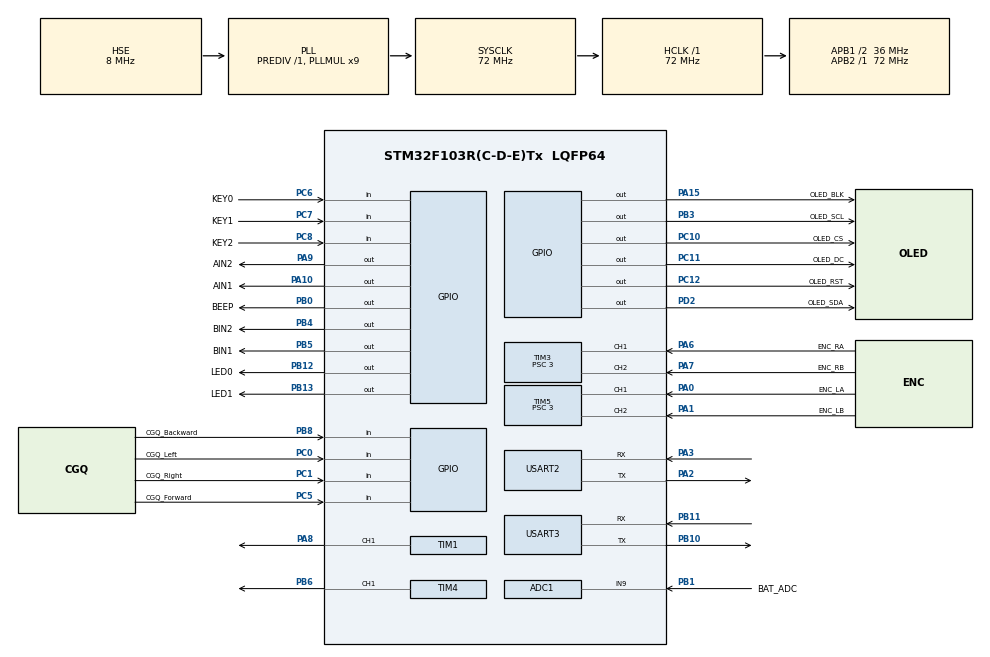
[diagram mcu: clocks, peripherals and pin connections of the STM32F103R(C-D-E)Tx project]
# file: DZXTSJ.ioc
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ADC1.Channel-0\#ChannelRegularConversion=ADC_CHANNEL_9
ADC1.NbrOfConversionFlag=1
ADC1.Rank-0\#ChannelRegularConversion=1
ADC1.SamplingTime-0\#ChannelRegularConversion=ADC_SAMPLETIME_1CYCLE_5
ADC1.master=1
Mcu.Family=STM32F1
Mcu.Name=STM32F103R(C-D-E)Tx
Mcu.Package=LQFP64
NVIC.PriorityGroup=NVIC_PRIORITYGROUP_4
NVIC.TIM2_IRQn=true\:0\:0\:false\:false\:true\:true\:true\:true
NVIC.USART2_IRQn=true\:2\:0\:true\:false\:true\:true\:true\:true
PA0-WKUP.GPIO_Label=ENC_LA
PA0-WKUP.Signal=S_TIM5_CH1
PA1.GPIO_Label=ENC_LB
PA1.Signal=S_TIM5_CH2
PA10.GPIO_Label=AIN1
PA10.Signal=GPIO_Output
PA13.Mode=Serial_Wire
PA13.Signal=SYS_JTMS-SWDIO
PA14.Mode=Serial_Wire
PA14.Signal=SYS_JTCK-SWCLK
PA15.GPIO_Label=OLED_BLK
PA15.GPIO_PuPd=GPIO_PULLUP
PA15.Signal=GPIO_Output
PA2.Mode=Asynchronous
PA2.Signal=USART2_TX
PA3.Mode=Asynchronous
PA3.Signal=USART2_RX
PA6.GPIO_Label=ENC_RA
PA6.Signal=S_TIM3_CH1
PA7.GPIO_Label=ENC_RB
PA7.Signal=S_TIM3_CH2
PA8.Signal=S_TIM1_CH1
PA9.GPIO_Label=AIN2
PA9.Signal=GPIO_Output
PB0.GPIO_Label=BEEP
PB0.GPIO_PuPd=GPIO_PULLUP
PB0.Signal=GPIO_Output
PB1.GPIO_Label=BAT_ADC
PB1.Signal=ADCx_IN9
PB10.Mode=Asynchronous
PB10.Signal=USART3_TX
PB11.Mode=Asynchronous
PB11.Signal=USART3_RX
PB12.GPIO_Label=LED0
PB12.GPIO_PuPd=GPIO_PULLUP
PB12.PinState=GPIO_PIN_SET
PB12.Signal=GPIO_Output
PB13.GPIO_Label=LED1
PB13.GPIO_PuPd=GPIO_PULLUP
PB13.PinState=GPIO_PIN_SET
PB13.Signal=GPIO_Output
PB3.GPIO_Label=OLED_SCL
PB3.GPIO_PuPd=GPIO_PULLUP
PB3.Signal=GPIO_Output
PB4.GPIO_Label=BIN2
PB4.GPIO_PuPd=GPIO_NOPULL
PB4.Signal=GPIO_Output
PB5.GPIO_Label=BIN1
PB5.Signal=GPIO_Output
PB6.Signal=S_TIM4_CH1
PB8.GPIO_Label=CGQ_Backward
PB8.Signal=GPIO_Input
PC0.GPIO_Label=CGQ_Left
PC0.Signal=GPIO_Input
PC1.GPIO_Label=CGQ_Right
PC1.Signal=GPIO_Input
PC10.GPIO_Label=OLED_CS
PC10.GPIO_PuPd=GPIO_PULLUP
PC10.Signal=GPIO_Output
PC11.GPIO_Label=OLED_DC
PC11.GPIO_PuPd=GPIO_PULLUP
PC11.Signal=GPIO_Output
PC12.GPIO_Label=OLED_RST
PC12.GPIO_PuPd=GPIO_PULLUP
PC12.Signal=GPIO_Output
PC5.GPIO_Label=CGQ_Forward
PC5.Signal=GPIO_Input
PC6.GPIO_Label=KEY0
PC6.GPIO_PuPd=GPIO_PULLUP
PC6.Signal=GPIO_Input
PC7.GPIO_Label=KEY1
PC7.GPIO_PuPd=GPIO_PULLUP
PC7.Signal=GPIO_Input
PC8.GPIO_Label=KEY2
PC8.GPIO_PuPd=GPIO_PULLUP
PC8.Signal=GPIO_Input
PD0-OSC_IN.Mode=HSE-External-Oscillator
PD0-OSC_IN.Signal=RCC_OSC_IN
PD1-OSC_OUT.Mode=HSE-External-Oscillator
PD1-OSC_OUT.Signal=RCC_OSC_OUT
PD2.GPIO_Label=OLED_SDA
PD2.GPIO_PuPd=GPIO_PULLUP
PD2.Signal=GPIO_Output
ProjectManager.HeapSize=0x200
ProjectManager.StackSize=0x400
ProjectManager.TargetToolchain=MDK-ARM V5
RCC.AHBFreq_Value=72000000
RCC.APB1CLKDivider=RCC_HCLK_DIV2
RCC.APB1Freq_Value=36000000
RCC.APB1TimFreq_Value=72000000
RCC.APB2Freq_Value=72000000
RCC.APB2TimFreq_Value=72000000
RCC.HCLKFreq_Value=72000000
RCC.PLLMUL=RCC_PLL_MUL9
RCC.PLLSourceVirtual=RCC_PLLSOURCE_HSE
RCC.SYSCLKFreq_VALUE=72000000
RCC.SYSCLKSource=RCC_SYSCLKSOURCE_PLLCLK
RCC.USBFreq_Value=72000000
SH.ADCx_IN9.0=ADC1_IN9,IN9
SH.S_TIM1_CH1.0=TIM1_CH1,PWM Generation1 CH1
SH.S_TIM3_CH1.0=TIM3_CH1,Encoder_Interface
SH.S_TIM3_CH2.0=TIM3_CH2,Encoder_Interface
SH.S_TIM4_CH1.0=TIM4_CH1,PWM Generation1 CH1
SH.S_TIM5_CH1.0=TIM5_CH1,Encoder_Interface
SH.S_TIM5_CH2.0=TIM5_CH2,Encoder_Interface
TIM1.Channel-PWM\ Generation1\ CH1=TIM_CHANNEL_1
TIM1.Period=1000
TIM1.Prescaler=72-1
TIM2.AutoReloadPreload=TIM_AUTORELOAD_PRELOAD_ENABLE
TIM2.Period=1000
TIM2.Prescaler=72-1
TIM3.EncoderMode=TIM_ENCODERMODE_TI12
TIM3.IC1Filter=15
TIM3.IC2Filter=15
TIM3.Prescaler=3
TIM4.Channel-PWM\ Generation1\ CH1=TIM_CHANNEL_1
TIM4.Period=1000
TIM4.Prescaler=72-1
TIM5.EncoderMode=TIM_ENCODERMODE_TI12
TIM5.IC1Filter=15
TIM5.IC2Filter=15
TIM5.Prescaler=3
USART2.VirtualMode=VM_ASYNC
USART3.VirtualMode=VM_ASYNC
VP_TIM1_VS_ClockSourceINT.Mode=Internal
VP_TIM2_VS_ClockSourceINT.Mode=Internal
VP_TIM4_VS_ClockSourceINT.Mode=Internal
board=custom

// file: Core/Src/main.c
/* USER CODE BEGIN Header */
/**
  ******************************************************************************
  * @file           : main.c
  * @brief          : Main program body
  ******************************************************************************
  * @attention
  *
  * Copyright (c) 2025 STMicroelectronics.
  * All rights reserved.
  *
  * This software is licensed under terms that can be found in the LICENSE file
  * in the root directory of this software component.
  * If no LICENSE file comes with this software, it is provided AS-IS.
  *
  ******************************************************************************
  */
/* USER CODE END Header */
#include "main.h"
#include <stdio.h>
#include <string.h>
#include "adc.h"
#include "tim.h"
#include "usart.h"
#include "gpio.h"

/* USER CODE BEGIN PTD */
typedef struct
{
   	float kp, ki, kd; // 比例、积分、微分系数
    float error, lastError; // 当前误差、上一次误差
    float integral, maxIntegral; // 积分累计值、积分限幅
    float output, maxOutput; // 控制输出、输出限幅
    float deadzone; // 死区
}PID;
/* USER CODE END PTD */

/* USER CODE BEGIN PD */
#define ENCODER_DEADZONE 2  // 编码器增量绝对值小于此值时视为静止
#define PID_OUTPUT_DEADZONE 5  // PID输出绝对值小于此值时置零
// 走迷宫时用于计算前进距离的绝对值宏
#define ABS_INT(x) (( (x) >= 0 ) ? (x) : -(x))
// 手动模式下直行速度调节范围与步长
#define SPEED_MIN      20
#define SPEED_MAX      120
#define SPEED_STEP     10
#define STRAIGHT_SLEW_STEP 4   // 直行角度环输出变化限幅，抑制左右摆动
#define TURN_SLEW_STEP     6   // 转弯PID输出变化限幅，降低振荡
#define MOTOR_FILTER_ALPHA 0.45f // 编码器速度一阶低通滤波系数
#define STRAIGHT_BALANCE_KP 0.35f   // 直行速度环左右平衡系数
#define STRAIGHT_BALANCE_MAX 8      // 直行速度环最大修正量
/* USER CODE END PD */

/* USER CODE BEGIN PV */
uint32_t ms_Tick;
uint32_t last_send_time = 0;  // 上一次发送状态的时间
uint8_t uart3_send_buffer[150];  // USART3发送缓冲区

// 定时与按键扫描变量
unsigned char Key_Slow_Down;
//key
unsigned char Key_Value;
unsigned char Key_Old,Key_Down,Key_Up;
uint8_t Key_Test0,Key_Test1,Key_Test2;
// 红外传感器数据
uint8_t CGQ_Data1,CGQ_Data2,CGQ_Data3,CGQ_Data4;// 1、2、3、4分别对应前、后、左、右红外
// USART2接收JY61P姿态数据
uint8_t uartdata2;// 串口当前接收到的字节
uint8_t Uart_Receive_String2[20];
uint8_t Uart_Receive_Flag2=0,Uart_Index2=0,Uart_State2=0;
int16_t jy61p_Roll,jy61p_Pitch,jy61p_Yaw;
float Roll,Pitch,Yaw;
uint8_t jy61p_Sum;
// 编码器变量
int EncoderRight,enc1_last,enc1_now;// 右轮采样周期内的编码器增量及计数值
char DirectionRight;// 右轮方向标志，由编码器计数方向确定
int EncoderLeft,enc2_last,enc2_now;// 左轮采样周期内的编码器增量及计数值
char DirectionLeft;// 左轮方向标志，由编码器计数方向确定
//PID - 修改速度环PID参数，降低比例增益、适当提高微分，抑制左右摆动
float Motor_kp=1.7f,Motor_ki=0.25f,Motor_kd=1.8f;//电机速度环默认参数，可按现场情况微调,2.0 0.25 1.8
uint16_t MotorRight_Target=20;// 右轮基础速度目标
PID MotorRight_PID={0};
uint16_t MotorLeft_Target=20;// 左轮基础速度目标
PID MotorLeft_PID={0};
float EncoderRight_filt = 0.0f;  // 过滤后的右轮速度
float EncoderLeft_filt  = 0.0f;  // 过滤后的左轮速度
//偏航角度环PID - 调低比例，略升微分，减少直行摆动
float Angle_kp=1.5f,Angle_ki=0.004f,Angle_kd=1.8f;//1.3
PID Angle_PID={0};
// 转弯独立PID，转向时采用更柔和且低幅度的参数
float Turn_kp=1.0f,Turn_ki=0.0050f,Turn_kd=1.2f;//0.8 0.0050 0.9
PID Turn_PID={0};
float turn_output_filtered = 0.0f;   // 转弯PID输出平滑值
float Yaw_PID_Error = 0.0f;          // 记录当前使用的偏航PID误差
float Yaw_PID_Output = 0.0f;         // 记录当前使用的偏航PID输出
float Yaw_Target=0.0f;
uint8_t Angle_Target_Valid=0;
int32_t MotorRight_Target_Adjusted=0;
int32_t MotorLeft_Target_Adjusted=0;
uint16_t Straight_Speed = SPEED_MIN;       // 直行动作的默认目标速度，可通过按键调节
int16_t Straight_Trim = 6;                 // 直行左右轮平衡微调：>0 提升左轮/降低右轮，矫正左偏
uint8_t Current_Action = 4;         // 当前动作编号：0直行 1左转 2右转 3调头 4停止
// USART3状态发送

//==================== 迷宫与智能鼠走迷宫相关变量 ====================//
#define MAZE_SIZE          8	// 迷宫的大小
#define MAZE_CENTER_MIN    3   	// 中心区域 [3,3]~[4,4]
#define MAZE_CENTER_MAX    4

// 地图不是一张图像，而是一个8×8的结构体数组,每个结构体描述一个格子，64个结构体就能表达整个迷宫。
typedef struct
{
	uint8_t walls;     // 当前格子四周哪些方向有墙,使用 walls 的低4个二进制位，每一位对应一个方向。
	uint8_t distance;  // 当前格子到终点的洪泛距离
	uint8_t visited;   // 是否走到过该格 0未访问，1已访问
} MazeCell;

// 方向定义：0北 1东 2南 3西
typedef enum
{
	DIR_NORTH = 0,
	DIR_EAST  = 1,
	DIR_SOUTH = 2,
	DIR_WEST  = 3
} Direction;

// 迷宫地图 & 机器人位姿
MazeCell maze[MAZE_SIZE][MAZE_SIZE];
int8_t robot_x = 7;            // 当前所在格子 X (0~7)，起点为右下角(7,0)
int8_t robot_y = 0;            // 当前所在格子 Y (0~7)，起点为右下角(7,0)
Direction robot_dir = DIR_NORTH; // 当前朝向，起始朝向为北（向上）

// 方向增量：0北 1东 2南 3西
const int8_t dir_dx[4] = {0, 1, 0, -1};		// 和Direction配合使用，往某个方向，就是针对着增减
const int8_t dir_dy[4] = {1, 0, -1, 0};

// 运动状态机
typedef enum
{
	MOTION_IDLE = 0,
	MOTION_MOVE_ONE_CELL,   // 正在前进一个单元格
	MOTION_TURNING          // 正在转向
} MotionState;

MotionState motion_state = MOTION_IDLE;
int32_t move_encoder_acc = 0;      // 用于统计前进距离的编码器累积值
uint32_t motion_start_tick = 0;    // 启动当前动作时的时间戳，用于超时检测
// 每个单元格对应的平均编码器增量（左右轮平均），需要根据实际底盘调试
#define COUNTS_PER_CELL     256

// 转弯完成判断阈值（角度误差小于该值判定转向结束）
#define TURN_ANGLE_EPS      2.0f

// 启动自动迷宫模式的标志（可通过按键控制）
uint8_t maze_auto_mode = 0;
uint8_t maze_finished   = 0;

// 迷宫控制函数前置声明
void Maze_Init(void);
void Maze_UpdateWalls(void);
void Maze_ComputeDistances(void);
uint8_t Maze_IsInCenter(uint8_t x, uint8_t y);
uint8_t Maze_ChooseNextMove(void);
void Maze_Controller(void);
void Motion_StartForwardOneCell(void);
void Motion_StartTurnLeft(void);
void Motion_StartTurnRight(void);
void Motion_StartTurnBack(void);
void Motion_UpdateByEncoders(void);
void Motion_Stop(void);

/* USER CODE END PV */

void SystemClock_Config(void);
/* USER CODE BEGIN PFP */
void Key_Proc(void);
void JY61P_Proc(void);
void Set_RightLun_Duty(int Duty);
void Set_LeftLun_Duty(int Duty);
uint8_t CGQ_Read(uint8_t Num);
void SendString3(uint8_t* UartString);
void Send_Debug_Data(void);
void Reset_PID(void);
void PID_Init(PID *pid, float p, float i, float d, float maxI, float maxOut);
void Motor_Proc(void);
void Angle_Control_Update(void);
void Reset_Angle_PID(void);
float NormalizeAngle(float angle);
void Action(uint8_t num);
// 走迷宫相关函数声明
void Maze_Init(void);
void Maze_Controller(void);
void Maze_UpdateWalls(void);
void Maze_ComputeDistances(void);
uint8_t Maze_IsInCenter(uint8_t x, uint8_t y);
uint8_t Maze_ChooseNextMove(void);
void Motion_StartForwardOneCell(void);
void Motion_StartTurnLeft(void);
void Motion_StartTurnRight(void);
void Motion_StartTurnBack(void);
void Motion_Stop(void);

/* USER CODE END PFP */

// 这套电脑鼠真正实现了两种运行模式——手动测试模式和自动迷宫模式
// 手动测试模式:电后默认处于这个模式，而且初始是停止状态。
// 可以通过按键依次让电脑鼠直行、左转、右转、掉头和停止，也可以调整直行速度。调试底盘运动能力
// 自动迷宫模式:按下KEY0后，电脑鼠会重新初始化地图，开始执行
// 边探索、边规划，不是先把整个迷宫走完，再计算最优路径。

int main(void)
{

  /* MCU Configuration--------------------------------------------------------*/

  /* Reset of all peripherals, Initializes the Flash interface and the Systick. */
  HAL_Init();

  /* Configure the system clock */
  SystemClock_Config();

  /* Initialize all configured peripherals */
  MX_GPIO_Init();
  MX_TIM1_Init();
  MX_TIM4_Init();
  MX_TIM2_Init();
  MX_USART2_UART_Init();
  MX_USART3_UART_Init();
  MX_TIM3_Init();
  MX_TIM5_Init();
  MX_ADC1_Init();
  /* USER CODE BEGIN 2 */
	HAL_TIM_Base_Start_IT(&htim2);// 启动TIM2周期中断
	HAL_TIM_PWM_Start(&htim1,TIM_CHANNEL_1);// 启动TIM1通道1的PWM输出
	HAL_TIM_PWM_Start(&htim4,TIM_CHANNEL_1);// 启动TIM4通道1的PWM输出
	HAL_TIM_Encoder_Start(&htim3, TIM_CHANNEL_ALL);// 启动TIM3编码器接口
	HAL_TIM_Encoder_Start(&htim5, TIM_CHANNEL_ALL);// 启动TIM5编码器接口

	// 初始化时先停止电机
	Set_RightLun_Duty(0);
	Set_LeftLun_Duty(0);

	HAL_UART_Receive_IT(&huart2, (uint8_t *)&uartdata2,1); // 启动USART2单字节中断接收，接收到uartdata2

	// 初始化速度环和角度环PID参数
	PID_Init(&MotorRight_PID, Motor_kp, Motor_ki, Motor_kd, 300.0f, 800.0f); // 初始化右轮速度环PID及积分、输出限幅
	PID_Init(&MotorLeft_PID, Motor_kp, Motor_ki, Motor_kd, 300.0f, 800.0f); // 初始化左轮速度环PID及积分、输出限幅
	PID_Init(&Angle_PID, Angle_kp, Angle_ki, Angle_kd, 150.0f, 150.0f); // 初始化直行角度环PID及积分、输出限幅
	PID_Init(&Turn_PID,  Turn_kp,  Turn_ki,  Turn_kd, 100.0f, 100.0f); // 转弯专用PID，限制输出幅度
	MotorRight_Target_Adjusted = MotorRight_Target;
	MotorLeft_Target_Adjusted = MotorLeft_Target;

 	// 开始时将编码器计数置为中值,防止跳变
 	__HAL_TIM_SET_COUNTER(&htim3, 32768);
	__HAL_TIM_SET_COUNTER(&htim5, 32768);
	enc1_now = 32768;
	enc1_last = 32768;
	enc2_now = 32768;
	enc2_last = 32768;

	// 初始化迷宫数据，但默认不启用迷宫自动模式
	Maze_Init();
	maze_auto_mode = 0;
	maze_finished  = 0;
	Current_Action = 4;   // 默认停止
	Action(4);

  /* USER CODE END 2 */

  /* Infinite loop */
  while (1)
  {

	/* USER CODE BEGIN 3 */
	Key_Proc();  // 代码中按键能够切换自动迷宫模式、切换手动动作和调整直行速度。 按键控制为什么放在while里面？
	JY61P_Proc();//处理JY61P姿态传感器发送的数据，主要获得机器人当前的偏航角 Yaw。
	Motor_Proc();//将左右电机PID控制器当前的输出值，送给电机驱动,并不负责计算PID，只是将已经计算好的控制量转换为PWM和方向信号。
	// 红外传感器读取
	CGQ_Data1=CGQ_Read(1);		// 前
	CGQ_Data2=CGQ_Read(2);		// 后
	CGQ_Data3=CGQ_Read(3);		// 左
	CGQ_Data4=CGQ_Read(4);		// 右
	// 在当前迷宫规划实现中，主要使用前、左、右三个方向的信息，后方传感器没有参与迷宫墙体更新。

	// 只有满足两个条件才执行自动迷宫控制：自动模式已开启 AND 尚未完成迷宫
	if(maze_auto_mode && !maze_finished){
		Maze_Controller();// 负责判断当前运动状态、更新地图、规划下一步，并启动相应的运动动作
		// 它并不直接负责计算左右电机PWM，而是给下层运动控制模块下达指令。
	}

	// 每500ms通过串口发送一次调试数据
	if(ms_Tick - last_send_time >= 500){
		last_send_time = ms_Tick;
		Send_Debug_Data();
	}
  }
  /* USER CODE END 3 */
}

void SystemClock_Config(void)
{
  RCC_OscInitTypeDef RCC_OscInitStruct = {0};
  RCC_ClkInitTypeDef RCC_ClkInitStruct = {0};
  RCC_PeriphCLKInitTypeDef PeriphClkInit = {0};

  /** Initializes the RCC Oscillators according to the specified parameters
  * in the RCC_OscInitTypeDef structure.
  */
  RCC_OscInitStruct.OscillatorType = RCC_OSCILLATORTYPE_HSE;
  RCC_OscInitStruct.HSEState = RCC_HSE_ON;
  RCC_OscInitStruct.HSEPredivValue = RCC_HSE_PREDIV_DIV1;
  RCC_OscInitStruct.HSIState = RCC_HSI_ON;
  RCC_OscInitStruct.PLL.PLLState = RCC_PLL_ON;
  RCC_OscInitStruct.PLL.PLLSource = RCC_PLLSOURCE_HSE;
  RCC_OscInitStruct.PLL.PLLMUL = RCC_PLL_MUL9;
  if (HAL_RCC_OscConfig(&RCC_OscInitStruct) != HAL_OK)
  {
    Error_Handler();
  }

  /** Initializes the CPU, AHB and APB buses clocks
  */
  RCC_ClkInitStruct.ClockType = RCC_CLOCKTYPE_HCLK|RCC_CLOCKTYPE_SYSCLK
                              |RCC_CLOCKTYPE_PCLK1|RCC_CLOCKTYPE_PCLK2;
  RCC_ClkInitStruct.SYSCLKSource = RCC_SYSCLKSOURCE_PLLCLK;
  RCC_ClkInitStruct.AHBCLKDivider = RCC_SYSCLK_DIV1;
  RCC_ClkInitStruct.APB1CLKDivider = RCC_HCLK_DIV2;
  RCC_ClkInitStruct.APB2CLKDivider = RCC_HCLK_DIV1;

  if (HAL_RCC_ClockConfig(&RCC_ClkInitStruct, FLASH_LATENCY_2) != HAL_OK)
  {
    Error_Handler();
  }
  PeriphClkInit.PeriphClockSelection = RCC_PERIPHCLK_ADC;
  PeriphClkInit.AdcClockSelection = RCC_ADCPCLK2_DIV2;
  if (HAL_RCCEx_PeriphCLKConfig(&PeriphClkInit) != HAL_OK)
  {
    Error_Handler();
  }
}

/* USER CODE BEGIN 4 */
void HAL_TIM_PeriodElapsedCallback(TIM_HandleTypeDef *htim){
	if(htim == &htim2){  // 只处理TIM2的周期中断
		ms_Tick++;
		if(++Key_Slow_Down ==10) Key_Slow_Down=0;

		// 每50ms采样一次编码器
		if((ms_Tick%50)==0){
			// 通过TIM3和TIM5读取编码器计数，计算轮速增量
			enc1_last=enc1_now;
			enc1_now = (uint16_t)(__HAL_TIM_GET_COUNTER(&htim3));// 读取TIM3计数值
			DirectionRight= __HAL_TIM_IS_TIM_COUNTING_DOWN(&htim3);// 读取右轮编码器计数方向，实际正反方向需实车标定

			// 根据计数方向计算右轮编码器增量
			if(DirectionRight){
				EncoderRight = enc1_now - enc1_last;
			}
			else{
				EncoderRight = enc1_last - enc1_now;
			}

			// 编码器死区处理，抑制静止时的小幅抖动
			if(EncoderRight > -ENCODER_DEADZONE && EncoderRight < ENCODER_DEADZONE){
				EncoderRight = 0;
			}

			enc2_last=enc2_now;
			enc2_now = (uint16_t)(__HAL_TIM_GET_COUNTER(&htim5));// 读取TIM5计数值
			if(__HAL_TIM_IS_TIM_COUNTING_DOWN(&htim5)==0){
				DirectionLeft=1;
			}
			else{
				DirectionLeft=0;
			}

			// 根据计数方向计算左轮编码器增量
			if(DirectionLeft){
				EncoderLeft = enc2_now - enc2_last;
			}
			else{
				EncoderLeft = enc2_last - enc2_now;
			}

			// 编码器死区处理，抑制静止时的小幅抖动
			if(EncoderLeft > -ENCODER_DEADZONE && EncoderLeft < ENCODER_DEADZONE){
				EncoderLeft = 0;
			}

			//=== 走迷宫：更新前进一个单元格的编码器累积，并做简单堵转检测 ===//
			if(motion_state == MOTION_MOVE_ONE_CELL){
				// 计算左右轮编码器的平均增量（取绝对值）
				int step_right = ABS_INT(EncoderRight);
				int step_left = ABS_INT(EncoderLeft);
				int step = (step_right + step_left) / 2;
				move_encoder_acc += step;

				// 检查是否达到一个单元格的距离（256个编码器计数）
				if(move_encoder_acc >= COUNTS_PER_CELL){
					move_encoder_acc = 0;
					// 根据当前朝向更新所在格子坐标
					int8_t nx = robot_x + dir_dx[robot_dir];
					int8_t ny = robot_y + dir_dy[robot_dir];
					if(nx >= 0 && nx < MAZE_SIZE && ny >= 0 && ny < MAZE_SIZE){
						robot_x = nx;
						robot_y = ny;
						maze[robot_x][robot_y].visited = 1;
					}
					Motion_Stop();
				}else{
					// 堵转检测：如果超过1.5秒且编码器累积值小于1/8单元格，认为前方被阻挡
					uint32_t elapsed = ms_Tick - motion_start_tick;
					if(elapsed > 1500 && move_encoder_acc < (COUNTS_PER_CELL / 8)){
						// 标记前方为墙
						uint8_t dir_front = robot_dir;
						uint8_t dir_back  = (robot_dir + 2) & 0x03;
						maze[robot_x][robot_y].walls |= (1 << dir_front);
						int8_t nx = robot_x + dir_dx[dir_front];
						int8_t ny = robot_y + dir_dy[dir_front];
						if(nx >= 0 && nx < MAZE_SIZE && ny >= 0 && ny < MAZE_SIZE){
							maze[nx][ny].walls |= (1 << dir_back);
						}
						Motion_Stop();
					}
				}
			}
		}

		// ============ 右轮速度环PID：每10ms更新一次 ============
		if((ms_Tick%10)==0){
			Angle_Control_Update();

			MotorRight_PID.lastError = MotorRight_PID.error;
			// 速度一阶滤波，抑制编码器抖动
			EncoderRight_filt += MOTOR_FILTER_ALPHA * ((float)EncoderRight - EncoderRight_filt);
			EncoderLeft_filt  += MOTOR_FILTER_ALPHA * ((float)EncoderLeft  - EncoderLeft_filt);

			MotorRight_PID.error = (float)MotorRight_Target_Adjusted - EncoderRight_filt;

			// 只有误差较小时才累积积分
			if(MotorRight_PID.error < 15 && MotorRight_PID.error > -15){
				MotorRight_PID.integral += MotorRight_PID.error;
			}
			else{
				// 误差较大时衰减积分，避免积分饱和
				MotorRight_PID.integral *= 0.95;
			}

			// 积分限幅，避免积分饱和
			if(MotorRight_PID.integral > MotorRight_PID.maxIntegral) {
				MotorRight_PID.integral = MotorRight_PID.maxIntegral;
			}
			if(MotorRight_PID.integral < -MotorRight_PID.maxIntegral) {
				MotorRight_PID.integral = -MotorRight_PID.maxIntegral;
			}

			// 计算PID控制输出
			MotorRight_PID.output = MotorRight_PID.kp * MotorRight_PID.error
								  + MotorRight_PID.ki * MotorRight_PID.integral
								  + MotorRight_PID.kd * (MotorRight_PID.error - MotorRight_PID.lastError);

			// 输出限幅，限制电机控制量
			if(MotorRight_PID.output > MotorRight_PID.maxOutput) {
				MotorRight_PID.output = MotorRight_PID.maxOutput;
			}
			if(MotorRight_PID.output < -MotorRight_PID.maxOutput) {
				MotorRight_PID.output = -MotorRight_PID.maxOutput;
			}

			// 输出死区处理，小幅控制输出直接置零
			if(MotorRight_PID.output > -PID_OUTPUT_DEADZONE && MotorRight_PID.output < PID_OUTPUT_DEADZONE){
				MotorRight_PID.output = 0;
			}

			// ============ 左轮速度环PID ============
			MotorLeft_PID.lastError = MotorLeft_PID.error;
			MotorLeft_PID.error = (float)MotorLeft_Target_Adjusted - EncoderLeft_filt;

			// 只有误差较小时才累积积分
			if(MotorLeft_PID.error < 15 && MotorLeft_PID.error > -15){
				MotorLeft_PID.integral += MotorLeft_PID.error;
			}
			else{
				// 误差较大时衰减积分，避免积分饱和
				MotorLeft_PID.integral *= 0.95;
			}

			// 积分限幅，避免积分饱和
			if(MotorLeft_PID.integral > MotorLeft_PID.maxIntegral) {
				MotorLeft_PID.integral = MotorLeft_PID.maxIntegral;
			}
			if(MotorLeft_PID.integral < -MotorLeft_PID.maxIntegral) {
				MotorLeft_PID.integral = -MotorLeft_PID.maxIntegral;
			}

			// 计算PID控制输出
			MotorLeft_PID.output = MotorLeft_PID.kp * MotorLeft_PID.error
								 + MotorLeft_PID.ki * MotorLeft_PID.integral
								 + MotorLeft_PID.kd * (MotorLeft_PID.error - MotorLeft_PID.lastError);

			// 输出限幅，限制电机控制量
			if(MotorLeft_PID.output > MotorLeft_PID.maxOutput) {
				MotorLeft_PID.output = MotorLeft_PID.maxOutput;
			}
			if(MotorLeft_PID.output < -MotorLeft_PID.maxOutput) {
				MotorLeft_PID.output = -MotorLeft_PID.maxOutput;
			}

			// 输出死区处理，小幅控制输出直接置零
			if(MotorLeft_PID.output > -PID_OUTPUT_DEADZONE && MotorLeft_PID.output < PID_OUTPUT_DEADZONE){
				MotorLeft_PID.output = 0;
			}
		}
   }
}

unsigned char Key_Read_BTN(void)
{
	unsigned char Key_Value;

	if(HAL_GPIO_ReadPin(KEY0_GPIO_Port,KEY0_Pin)==0) Key_Value=7;
	else if(HAL_GPIO_ReadPin(KEY1_GPIO_Port,KEY1_Pin)==0) Key_Value=6;
	else if(HAL_GPIO_ReadPin(KEY2_GPIO_Port,KEY2_Pin)==0) Key_Value=5;
	else Key_Value=0;

	return Key_Value;
}

void Key_Proc(void){
	if(Key_Slow_Down) return;
	Key_Slow_Down=1;

	Key_Value=Key_Read_BTN();
	Key_Down=Key_Value&(Key_Old^Key_Value);
	Key_Up=~Key_Value&(Key_Old^Key_Value);
	Key_Old=Key_Value;

	switch(Key_Down)
	{
		case 7:
			Key_Test0++;
			// 按键0：切换迷宫模式（开始/停止）
			if(maze_auto_mode == 0){
				// 进入迷宫自动模式
				Motion_Stop();
				Maze_Init();
				maze_finished = 0;
				maze_auto_mode = 1;
			}else{
				// 退出迷宫模式，停止运动并进入手动停止模式
				maze_auto_mode = 0;
				maze_finished = 0;
				Motion_Stop();
				Current_Action = 4;
				Action(4);
			}
		break;
		case 6:
			Key_Test1++;
			// 按键1：在非迷宫模式下，循环切换 action 的 5 种模式（0直行 1左转 2右转 3调头 4停止）
			if(maze_auto_mode == 0){
				Current_Action = (Current_Action + 1) % 5; // 0~4 轮询
				Action(Current_Action);
			}
		break;
		case 5:
			Key_Test2++;
			// 按键2：在非迷宫模式下调整直行速度，超过上限后回到下限
			if(maze_auto_mode == 0){
				if(Straight_Speed < SPEED_MIN){
					Straight_Speed = SPEED_MIN;
				}
				Straight_Speed += SPEED_STEP;
				if(Straight_Speed > SPEED_MAX){
					Straight_Speed = SPEED_MIN;
				}
				// 当前是直行模式时立即生效
				if(Current_Action == 0){
					Action(0);
				}
			}
		break;
	}
}

// 解析JY61P姿态帧，更新Roll、Pitch、Yaw
void JY61P_Proc(void){
	if(Uart_Receive_Flag2==0){
		return;
	}

	jy61p_Sum=(0x55+Uart_Receive_String2[0]+Uart_Receive_String2[1]+Uart_Receive_String2[2]+Uart_Receive_String2[3]+Uart_Receive_String2[4]+Uart_Receive_String2[5]+Uart_Receive_String2[6]+Uart_Receive_String2[7]+Uart_Receive_String2[8]);
	if(Uart_Receive_String2[9]==jy61p_Sum){
		if(Uart_Receive_String2[0]==0x53){
			jy61p_Roll=(int16_t)((Uart_Receive_String2[2]<<8)|(Uart_Receive_String2[1]));
			jy61p_Pitch=(int16_t)((Uart_Receive_String2[4]<<8)|(Uart_Receive_String2[3]));
			jy61p_Yaw=(int16_t)((Uart_Receive_String2[6]<<8)|(Uart_Receive_String2[5]));
			Roll=jy61p_Roll*180.0f/32768.0f;
			Pitch=jy61p_Pitch*180.0f/32768.0f;
			Yaw=jy61p_Yaw*180.0f/32768.0f;
		}
	}
	Uart_Receive_Flag2=0;
}

// 将速度环PID输出转换为整数电机控制量
void Motor_Proc(void){
	Set_LeftLun_Duty((int)MotorLeft_PID.output);// 将左轮PID输出送入PWM与方向控制函数
	Set_RightLun_Duty((int)MotorRight_PID.output);// 将右轮PID输出送入PWM与方向控制函数
}

// 设置右轮电机的方向和PWM占空比，Duty允许正负值
void Set_RightLun_Duty(int Duty){
	if(Duty>1000){
		Duty=1000;
	}
	else if(Duty<-1000){
		Duty=-1000;
	}
	if(Duty>=0){// 非负控制量对应正向输出
		HAL_GPIO_WritePin(AIN1_GPIO_Port,AIN1_Pin,GPIO_PIN_RESET);
		HAL_GPIO_WritePin(AIN2_GPIO_Port,AIN2_Pin,GPIO_PIN_SET);
		__HAL_TIM_SET_COMPARE(&htim1,TIM_CHANNEL_1,Duty);// 设置PWM比较值
	}
	else{// 负控制量对应反向输出
		HAL_GPIO_WritePin(AIN1_GPIO_Port,AIN1_Pin,GPIO_PIN_SET);
		HAL_GPIO_WritePin(AIN2_GPIO_Port,AIN2_Pin,GPIO_PIN_RESET);
		__HAL_TIM_SET_COMPARE(&htim1,TIM_CHANNEL_1,-Duty);// 反向时使用控制量绝对值设置PWM比较值
	}
}

// 设置左轮电机的方向和PWM占空比，Duty允许正负值
void Set_LeftLun_Duty(int Duty){
	if(Duty>1000){
		Duty=1000;
	}
	else if(Duty<-1000){
		Duty=-1000;
	}
	if(Duty>=0){// 非负控制量对应正向输出
		HAL_GPIO_WritePin(BIN1_GPIO_Port,BIN1_Pin,GPIO_PIN_RESET);
		HAL_GPIO_WritePin(BIN2_GPIO_Port,BIN2_Pin,GPIO_PIN_SET);
		__HAL_TIM_SET_COMPARE(&htim4,TIM_CHANNEL_1,Duty);// 设置PWM比较值
	}
	else{// 负控制量对应反向输出
		HAL_GPIO_WritePin(BIN1_GPIO_Port,BIN1_Pin,GPIO_PIN_SET);
		HAL_GPIO_WritePin(BIN2_GPIO_Port,BIN2_Pin,GPIO_PIN_RESET);
		__HAL_TIM_SET_COMPARE(&htim4,TIM_CHANNEL_1,-Duty);// 反向时使用控制量绝对值设置PWM比较值
	}
}

// 通过USART3发送字符串
void SendString3(uint8_t* UartString){
	HAL_UART_Transmit(&huart3, (uint8_t *)UartString, strlen((const char *)UartString), 1000);
}

// 发送位置、朝向、姿态角、红外状态和运行模式
void Send_Debug_Data(void){
	int len = 0;
	HAL_StatusTypeDef status;

	// 协议：s,X,Y,O,Angle,Front,Left,Right,Mode\r\n
	// X,Y: 坐标(0-7), O:朝向(0北1东2南3西), Angle:Yaw角(度), Front/Left/Right:传感器(0有墙1无墙), Mode:模式(0停止1迷宫)
	// 将Yaw角归一化到0-360度范围（0度=北，顺时针增加）
	float yaw_normalized = Yaw;
	while(yaw_normalized < 0.0f) yaw_normalized += 360.0f;
	while(yaw_normalized >= 360.0f) yaw_normalized -= 360.0f;

	len = snprintf((char*)uart3_send_buffer, sizeof(uart3_send_buffer),
		"s,%d,%d,%d,%.1f,%d,%d,%d,%d\r\n",
		(int)robot_x,           // X坐标
		(int)robot_y,           // Y坐标
		(int)robot_dir,         // O朝向(0北1东2南3西)
		yaw_normalized,        // Angle陀螺仪Yaw角(度)
		(int)CGQ_Data1,         // Front前传感器(0有墙1无墙)
		(int)CGQ_Data3,         // Left左传感器(0有墙1无墙)
		(int)CGQ_Data4,         // Right右传感器(0有墙1无墙)
		(int)maze_auto_mode     // Mode运行模式(0停止1迷宫模式)
	);

	// 确保数据完整发送，增加超时时间并检查发送状态
	if(len > 0 && len < sizeof(uart3_send_buffer)){
		// 等待上一次发送完成，避免数据被分割
		while(HAL_UART_GetState(&huart3) == HAL_UART_STATE_BUSY_TX){
			HAL_Delay(1);
		}
		// 一次性发送完整数据帧，超时时间增加到5000ms
		status = HAL_UART_Transmit(&huart3, uart3_send_buffer, (uint16_t)len, 5000);
		// 如果发送失败，可以在这里添加错误处理
		(void)status; // 避免未使用变量警告
	}
}

//==================== 迷宫与运动控制函数实现 ====================//
// 迷宫初始化：清空所有墙和距离，并设置外边界墙
void Maze_Init(void){
	for(uint8_t x = 0; x < MAZE_SIZE; x++){
		for(uint8_t y = 0; y < MAZE_SIZE; y++){
			maze[x][y].walls = 0;
			maze[x][y].distance = 0xFF;
			maze[x][y].visited = 0;
		}
	}
	// 设置外边界为墙
	for(uint8_t x = 0; x < MAZE_SIZE; x++){
		maze[x][0].walls |= (1 << DIR_SOUTH);                 // 最底行南侧为墙
		maze[x][MAZE_SIZE-1].walls |= (1 << DIR_NORTH);       // 最顶行为墙
	}
	for(uint8_t y = 0; y < MAZE_SIZE; y++){
		maze[0][y].walls |= (1 << DIR_WEST);                  // 最左列西侧为墙
		maze[MAZE_SIZE-1][y].walls |= (1 << DIR_EAST);        // 最右列东侧为墙
	}
	// 初始位置与朝向
	robot_x = 7;
	robot_y = 0;
	robot_dir = DIR_NORTH;
	maze[robot_x][robot_y].visited = 1;

	maze_finished = 0;
	motion_state = MOTION_IDLE;
	move_encoder_acc = 0;
}

// 根据当前朝向与红外传感器更新当前格子的墙信息
// 约定：CGQ_Data1=前，CGQ_Data3=左，CGQ_Data4=右（CGQ_Data2后方传感器不使用）
// 假定 0 = 有墙（检测到障碍），1 = 无墙

// 关键是：区分机器人自身的前后左右，与迷宫地图的东南西北。
void Maze_UpdateWalls(void){
	MazeCell *cell = &maze[robot_x][robot_y];

	// 程序首先根据 robot_dir 把相对方向转换成绝对方向。
	uint8_t dir_front = robot_dir;
	uint8_t dir_back  = (robot_dir + 2) & 0x03;
	uint8_t dir_left  = (robot_dir + 3) & 0x03;
	uint8_t dir_right = (robot_dir + 1) & 0x03;

	// 前方墙（使用CGQ_Data1）
	if(CGQ_Data1 == 0){
		cell->walls |= (1 << dir_front);
		int8_t nx = robot_x + dir_dx[dir_front];
		int8_t ny = robot_y + dir_dy[dir_front];
		if(nx >= 0 && nx < MAZE_SIZE && ny >= 0 && ny < MAZE_SIZE){
			maze[nx][ny].walls |= (1 << dir_back);
		}
	}
	// 左侧墙（使用CGQ_Data3）
	if(CGQ_Data3 == 0){
		cell->walls |= (1 << dir_left);
		int8_t nx = robot_x + dir_dx[dir_left];
		int8_t ny = robot_y + dir_dy[dir_left];
		if(nx >= 0 && nx < MAZE_SIZE && ny >= 0 && ny < MAZE_SIZE){
			maze[nx][ny].walls |= (1 << dir_right);
		}
	}
	// 右侧墙（使用CGQ_Data4）
	if(CGQ_Data4 == 0){
		cell->walls |= (1 << dir_right);
		int8_t nx = robot_x + dir_dx[dir_right];
		int8_t ny = robot_y + dir_dy[dir_right];
		if(nx >= 0 && nx < MAZE_SIZE && ny >= 0 && ny < MAZE_SIZE){
			maze[nx][ny].walls |= (1 << dir_left);
		}
	}
	// 注意：CGQ_Data2（后方传感器）不使用，因为后方信息对走迷宫无帮助
}

// 是否位于迷宫中心 2x2 区域
uint8_t Maze_IsInCenter(uint8_t x, uint8_t y){
	if(x >= MAZE_CENTER_MIN && x <= MAZE_CENTER_MAX &&
	   y >= MAZE_CENTER_MIN && y <= MAZE_CENTER_MAX){
		return 1;
	}
	return 0;
}

// 基于当前墙信息计算从每个格子到中心的距离（洪泛算法）
void Maze_ComputeDistances(void){
	// 初始化
	for(uint8_t x = 0; x < MAZE_SIZE; x++){
		for(uint8_t y = 0; y < MAZE_SIZE; y++){
			maze[x][y].distance = 0xFF;
		}
	}
	// 中心区域距离设为 0
	for(uint8_t x = MAZE_CENTER_MIN; x <= MAZE_CENTER_MAX; x++){
		for(uint8_t y = MAZE_CENTER_MIN; y <= MAZE_CENTER_MAX; y++){
			maze[x][y].distance = 0;
		}
	}

	// 迭代松弛，直到不再变化（由于 8x8 迷宫规模小，这里简单暴力实现即可）
	uint8_t changed;
	do{
		changed = 0;
		for(uint8_t x = 0; x < MAZE_SIZE; x++){
			for(uint8_t y = 0; y < MAZE_SIZE; y++){
				uint8_t cur_d = maze[x][y].distance;
				for(uint8_t d = 0; d < 4; d++){
					// 有墙则不可通行
					if(maze[x][y].walls & (1 << d)){
						continue;
					}
					int8_t nx = x + dir_dx[d];
					int8_t ny = y + dir_dy[d];
					if(nx < 0 || nx >= MAZE_SIZE || ny < 0 || ny >= MAZE_SIZE){
						continue;
					}
					uint8_t nd = maze[nx][ny].distance;
					if(nd + 1 < cur_d){
						maze[x][y].distance = nd + 1;
						cur_d = nd + 1;
						changed = 1;
					}
				}
			}
		}
	}while(changed);
}

// 从当前格子出发，选择距离值最小的相邻格子方向
// 增强版：实时根据传感器数据判断缺口，自动选择转向方向
// 返回：0 = 前进；1 = 左转；2 = 右转；3 = 掉头；0xFF = 无可走方向
uint8_t Maze_ChooseNextMove(void){
	// 获取当前朝向下的各方向
	uint8_t dir_front = robot_dir;
	uint8_t dir_left  = (robot_dir + 3) & 0x03;
	uint8_t dir_right = (robot_dir + 1) & 0x03;
	uint8_t dir_back  = (robot_dir + 2) & 0x03;

	// 根据传感器实时数据判断各方向是否有缺口（传感器值为1表示有缺口）
	// CGQ_Data1=前，CGQ_Data3=左，CGQ_Data4=右
	uint8_t sensor_gap_front = (CGQ_Data1 == 1) ? 1 : 0;  // 前方传感器检测到缺口
	uint8_t sensor_gap_left  = (CGQ_Data3 == 1) ? 1 : 0;  // 左侧传感器检测到缺口
	uint8_t sensor_gap_right = (CGQ_Data4 == 1) ? 1 : 0;  // 右侧传感器检测到缺口

	// 综合判断：传感器检测到缺口 OR 地图中未标记为墙
	uint8_t can_go_front = sensor_gap_front || !(maze[robot_x][robot_y].walls & (1 << dir_front));
	uint8_t can_go_left  = sensor_gap_left  || !(maze[robot_x][robot_y].walls & (1 << dir_left));
	uint8_t can_go_right = sensor_gap_right || !(maze[robot_x][robot_y].walls & (1 << dir_right));
	uint8_t can_go_back  = !(maze[robot_x][robot_y].walls & (1 << dir_back));  // 后方不检测传感器

	uint8_t bestDir = 0xFF;
	uint8_t bestDist = 0xFF;

	// 第一步：找出所有可达方向及其距离值
	uint8_t valid_dirs[4] = {0xFF, 0xFF, 0xFF, 0xFF};
	uint8_t valid_dists[4] = {0xFF, 0xFF, 0xFF, 0xFF};
	uint8_t sensor_flags[4] = {0, 0, 0, 0};  // 标记哪些方向是传感器检测到的缺口
	uint8_t neighbor_visited[4] = {0, 0, 0, 0}; // 标记相邻格是否已访问
	uint8_t valid_count = 0;

	// 检查前方
	if(can_go_front){
		int8_t nx = robot_x + dir_dx[dir_front];
		int8_t ny = robot_y + dir_dy[dir_front];
		if(nx >= 0 && nx < MAZE_SIZE && ny >= 0 && ny < MAZE_SIZE){
			valid_dirs[valid_count] = dir_front;
			valid_dists[valid_count] = maze[nx][ny].distance;
			sensor_flags[valid_count] = sensor_gap_front;  // 标记为传感器检测到的缺口
			neighbor_visited[valid_count] = maze[nx][ny].visited;
			valid_count++;
		}
	}

	// 检查左侧
	if(can_go_left){
		int8_t nx = robot_x + dir_dx[dir_left];
		int8_t ny = robot_y + dir_dy[dir_left];
		if(nx >= 0 && nx < MAZE_SIZE && ny >= 0 && ny < MAZE_SIZE){
			valid_dirs[valid_count] = dir_left;
			valid_dists[valid_count] = maze[nx][ny].distance;
			sensor_flags[valid_count] = sensor_gap_left;
			neighbor_visited[valid_count] = maze[nx][ny].visited;
			valid_count++;
		}
	}

	// 检查右侧
	if(can_go_right){
		int8_t nx = robot_x + dir_dx[dir_right];
		int8_t ny = robot_y + dir_dy[dir_right];
		if(nx >= 0 && nx < MAZE_SIZE && ny >= 0 && ny < MAZE_SIZE){
			valid_dirs[valid_count] = dir_right;
			valid_dists[valid_count] = maze[nx][ny].distance;
			sensor_flags[valid_count] = sensor_gap_right;
			neighbor_visited[valid_count] = maze[nx][ny].visited;
			valid_count++;
		}
	}

	// 检查后方（仅在必要时）
	if(can_go_back){
		int8_t nx = robot_x + dir_dx[dir_back];
		int8_t ny = robot_y + dir_dy[dir_back];
		if(nx >= 0 && nx < MAZE_SIZE && ny >= 0 && ny < MAZE_SIZE){
			valid_dirs[valid_count] = dir_back;
			valid_dists[valid_count] = maze[nx][ny].distance;
			sensor_flags[valid_count] = 0;  // 后方不检测传感器
			neighbor_visited[valid_count] = maze[nx][ny].visited;
			valid_count++;
		}
	}

	// 死胡同检测：如果前方、左、右都是墙（地图中标记为墙，且传感器未检测到缺口），只有后方可以走
	// 注意：如果传感器检测到缺口，即使地图中标记为墙，也不判定为死胡同（可能是新发现的路径）
	uint8_t front_wall_in_map = (maze[robot_x][robot_y].walls & (1 << dir_front)) != 0;
	uint8_t left_wall_in_map = (maze[robot_x][robot_y].walls & (1 << dir_left)) != 0;
	uint8_t right_wall_in_map = (maze[robot_x][robot_y].walls & (1 << dir_right)) != 0;
	uint8_t back_wall_in_map = (maze[robot_x][robot_y].walls & (1 << dir_back)) != 0;

	// 死胡同条件：前方、左、右在地图中都标记为墙，且传感器也未检测到缺口，只有后方可以走
	if(front_wall_in_map && !sensor_gap_front &&
	   left_wall_in_map && !sensor_gap_left &&
	   right_wall_in_map && !sensor_gap_right &&
	   !back_wall_in_map && valid_count > 0){
		// 确认后方方向在有效方向列表中
		for(uint8_t i = 0; i < valid_count; i++){
			if(valid_dirs[i] == dir_back){
				// 死胡同：强制选择掉头返回
				return 3;  // 直接返回掉头动作
			}
		}
	}

	if(valid_count == 0){
		return 0xFF;  // 完全封闭，无路可走
	}

	// 第二步：找出最短距离（优先未访问节点）。若存在未访问的相邻格，仅在未访问集合中找最短；否则在全部里找。
	uint8_t have_unvisited = 0;
	for(uint8_t i = 0; i < valid_count; i++){
		if(!neighbor_visited[i]){
			have_unvisited = 1;
			break;
		}
	}
	for(uint8_t i = 0; i < valid_count; i++){
		if(have_unvisited && neighbor_visited[i]){
			continue; // 本轮只在未访问格中寻找
		}
		if(valid_dists[i] < bestDist){
			bestDist = valid_dists[i];
		}
	}

	// 第三步：在达到最短距离的方向中，优先选择策略
	// 优先级：1. 未访问过的格子（记忆已走过路线，优先新路）
	//         2. 传感器检测到的缺口方向（新发现的路径）
	//         3. 直行方向（保持方向）
	//         4. 左转（左手法则）
	//         5. 右转
	//         6. 掉头

	uint8_t best_score = 0;
	uint8_t best_candidate = valid_dirs[0];

	for(uint8_t i = 0; i < valid_count; i++){
		if(valid_dists[i] != bestDist){
			continue;  // 只考虑最短距离的方向
		}

		uint8_t d = valid_dirs[i];
		uint8_t score = 0;

		int8_t nx = robot_x + dir_dx[d];
		int8_t ny = robot_y + dir_dy[d];

		// 加分项1：未访问过的格子（优先尝试新路径）
		if(!maze[nx][ny].visited){
			score += 25;
		}

		// 加分项2：传感器检测到的缺口（新发现的路径）
		if(sensor_flags[i]){
			score += 15;
		}

		// 加分项3：直行方向（保持方向）
		if(d == dir_front){
			score += 5;
		}

		// 加分项4：左手法则（优先左转）
		if(d == dir_left){
			score += 2;
		}

		// 加分项5：右转
		if(d == dir_right){
			score += 1;
		}

		// 选择得分最高的方向
		if(score > best_score){
			best_score = score;
			best_candidate = d;
		}
	}

	bestDir = best_candidate;

	// 第四步：将绝对方向转换为相对动作
	if(bestDir == robot_dir){
		return 0; // 前
	}else if(bestDir == dir_left){
		return 1; // 左
	}else if(bestDir == dir_right){
		return 2; // 右
	}else{
		return 3; // 掉头
	}
}

// 启动前进一个单元格
void Motion_StartForwardOneCell(void){
	if(motion_state != MOTION_IDLE){
		return;
	}
	Straight_Speed = 45;          // 迷宫直行基础速度，可根据实际调试调整（范围20-120）
	move_encoder_acc = 0;
	motion_start_tick = ms_Tick;
	Action(0);                    // 设置为直行动作（会锁定当前偏航为直行基准）
	motion_state = MOTION_MOVE_ONE_CELL;
}

// 启动左转 90°
void Motion_StartTurnLeft(void){
	if(motion_state != MOTION_IDLE){
		return;
	}
	Action(1);
	motion_start_tick = ms_Tick;
	motion_state = MOTION_TURNING;
	// 注意：robot_dir 在转向完成后再更新，见 Maze_Controller 中的转向完成判断
}

// 启动右转 90°
void Motion_StartTurnRight(void){
	if(motion_state != MOTION_IDLE){
		return;
	}
	Action(2);
	motion_start_tick = ms_Tick;
	motion_state = MOTION_TURNING;
	// 注意：robot_dir 在转向完成后再更新，见 Maze_Controller 中的转向完成判断
}

// 启动掉头 180°
void Motion_StartTurnBack(void){
	if(motion_state != MOTION_IDLE){
		return;
	}
	Action(3);
	motion_start_tick = ms_Tick;
	motion_state = MOTION_TURNING;
	// 注意：robot_dir 在转向完成后再更新，见 Maze_Controller 中的转向完成判断
}

// 停止当前运动
void Motion_Stop(void){
	Set_RightLun_Duty(0);
	Set_LeftLun_Duty(0);
	MotorRight_Target = 0;
	MotorLeft_Target = 0;
	Straight_Speed = 0;
	Reset_PID();
	Angle_Target_Valid = 0;
	motion_state = MOTION_IDLE;
}

// 迷宫上层控制：在主循环中周期性调用
void Maze_Controller(void){
	static uint32_t last_plan_tick = 0;
	static uint8_t turn_stable_count = 0;

	// 简单节流：每 50ms 规划一次，避免过于频繁
	if(ms_Tick - last_plan_tick < 50){
		return;
	}
	last_plan_tick = ms_Tick;

	if(maze_finished){
		return;
	}

	// 如果正在转弯，则根据角度误差判断是否结束
	if(motion_state == MOTION_TURNING){
		float err = NormalizeAngle(Yaw_Target - Yaw);
		// 转向完成判断：角度误差小于阈值，且持续一段时间（避免抖动）
		if(err < TURN_ANGLE_EPS && err > -TURN_ANGLE_EPS){
			if(turn_stable_count < 3){
				turn_stable_count++;
			}
			if(turn_stable_count >= 3){
			// 转向完成，更新机器人朝向
			// 根据当前动作判断转向方向
			if(Current_Action == 1){
				// 左转90°
				robot_dir = (Direction)((robot_dir + 3) & 0x03);
			}else if(Current_Action == 2){
				// 右转90°
				robot_dir = (Direction)((robot_dir + 1) & 0x03);
			}else if(Current_Action == 3){
				// 掉头180°
				robot_dir = (Direction)((robot_dir + 2) & 0x03);
			}
				turn_stable_count = 0;
			Motion_Stop();
			}
		}
		// 超时保护：如果转向超过3秒仍未完成，强制停止并更新方向
		else if((ms_Tick - motion_start_tick) > 3000){
			if(Current_Action == 1){
				robot_dir = (Direction)((robot_dir + 3) & 0x03);
			}else if(Current_Action == 2){
				robot_dir = (Direction)((robot_dir + 1) & 0x03);
			}else if(Current_Action == 3){
				robot_dir = (Direction)((robot_dir + 2) & 0x03);
			}
			turn_stable_count = 0;
			Motion_Stop();
		}
		else{
			turn_stable_count = 0;
		}
		return;
	}

	// 非转向状态，清零稳定计数
	turn_stable_count = 0;

	// 正在前进格子时，由定时中断检测距离是否到位，这里不做处理
	if(motion_state == MOTION_MOVE_ONE_CELL){
		return;
	}

// ***************************************************************************** //
// ***************************************************************************** //

	// 运动空闲：检查是否到达中心
	// Maze_IsInCenter() 用来判断电脑鼠是否已经进入中央2×2格区域。到达就停止，结束本次自动探索。
	if(Maze_IsInCenter((uint8_t)robot_x, (uint8_t)robot_y))
	{
		maze_finished = 1;
		Motion_Stop();
		return;
	}

	// 根据前、左、右红外传感器的信息，记录当前位置附近的墙壁
	Maze_UpdateWalls();
	// 规划下一步路线
	// Maze_ComputeDistances()：计算地图中各格到终点的洪泛距离。
	// Maze_ChooseNextMove()：根据距离、墙体、是否访问过等信息，决定下一步往哪个方向走。
	Maze_ComputeDistances();
	uint8_t move = Maze_ChooseNextMove();

	if(move == 0xFF){
		// 完全封闭，无路可走（所有方向都是墙）
		// 尝试重新计算距离，可能是地图信息有误
		// 如果仍然无路可走，则停止
		maze_finished = 1;
		Motion_Stop();
		return;
	}

	// 通过 switch(move)，选择直行、左转、右转或掉头。
	switch(move){
		case 0:
			Motion_StartForwardOneCell();
		break;
		case 1:
			Motion_StartTurnLeft();
		break;
		case 2:
			Motion_StartTurnRight();
		break;
		case 3:
			Motion_StartTurnBack();
		break;
		default:
		break;
	}
}

// 目标变化或动作切换时重置PID状态
void Reset_PID(void){
	MotorRight_PID.integral = 0;
	MotorRight_PID.error = 0;
	MotorRight_PID.lastError = 0;
	MotorRight_PID.output = 0;

	MotorLeft_PID.integral = 0;
	MotorLeft_PID.error = 0;
	MotorLeft_PID.lastError = 0;
	MotorLeft_PID.output = 0;
	Reset_Angle_PID();

	if(MotorRight_Target==0 && MotorLeft_Target==0){
		Angle_Target_Valid = 0;
	}else{
		if(!Angle_Target_Valid){
			Yaw_Target = Yaw;
		}
		Angle_Target_Valid = 1;
	}
}

// 初始化PID参数和内部状态
void PID_Init(PID *pid, float p, float i, float d, float maxI, float maxOut)
{
    pid->kp = p;
    pid->ki = i;
    pid->kd = d;
    pid->maxIntegral = maxI;
    pid->maxOutput = maxOut;
    pid->error = 0;
    pid->lastError = 0;
    pid->integral = 0;
    pid->output = 0;
}

void Angle_Control_Update(void){
	MotorRight_Target_Adjusted = MotorRight_Target;
	MotorLeft_Target_Adjusted = MotorLeft_Target;

	if(!Angle_Target_Valid){
		Yaw_PID_Error = 0.0f;
		Yaw_PID_Output = 0.0f;
		turn_output_filtered = 0.0f;
		return;
	}

	// 转弯动作使用转弯PID，其余动作使用直行PID
	uint8_t turning = (Current_Action == 1 || Current_Action == 2 || Current_Action == 3);
	PID *pid = turning ? &Turn_PID : &Angle_PID;

	pid->lastError = pid->error;
	pid->error = NormalizeAngle(Yaw_Target - Yaw);

	if(pid->error < 5.0f && pid->error > -5.0f){
		pid->integral += pid->error;
	}else{
		pid->integral *= 0.9f;
	}

	if(pid->integral > pid->maxIntegral){
		pid->integral = pid->maxIntegral;
	}
	if(pid->integral < -pid->maxIntegral){
		pid->integral = -pid->maxIntegral;
	}

	pid->output = pid->kp * pid->error
					 + pid->ki * pid->integral
					 + pid->kd * (pid->error - pid->lastError);

	if(pid->output > pid->maxOutput){
		pid->output = pid->maxOutput;
	}
	if(pid->output < -pid->maxOutput){
		pid->output = -pid->maxOutput;
	}

	// 转弯/直行输出平滑，避免振荡
	float yaw_output = pid->output;
	float slew = turning ? TURN_SLEW_STEP : STRAIGHT_SLEW_STEP;
	float delta = yaw_output - turn_output_filtered;
	if(delta > slew) delta = slew;
	if(delta < -slew) delta = -slew;
	turn_output_filtered += delta;
	yaw_output = turn_output_filtered;

	// 转弯收敛减速：误差越小输出越小，降低过冲
	if(turning){
		float abs_err = pid->error;
		if(abs_err < 0) abs_err = -abs_err;
		float scale = abs_err / 18.0f; // 误差小于18度开始线性减小
		if(scale > 1.0f) scale = 1.0f;
		if(scale < 0.15f) scale = 0.15f; // 保证最低驱动力
		yaw_output *= scale;
	}

	// 微小区间死区，减小直行抖动；转弯时不启用死区以避免残余角误差
	if(!turning){
		if(yaw_output < 1.5f && yaw_output > -1.5f){
			yaw_output = 0.0f;
			turn_output_filtered = 0.0f;
		}
	}

	Yaw_PID_Error = pid->error;
	Yaw_PID_Output = yaw_output;

	MotorRight_Target_Adjusted += (int32_t)yaw_output;
	MotorLeft_Target_Adjusted  -= (int32_t)yaw_output;

	// 直行时在速度环层面做左右平衡，抑制机械误差导致的偏航
	if(!turning && Current_Action == 0){
		int diff = EncoderRight - EncoderLeft; // >0 表示右轮更快
		float bal = diff * STRAIGHT_BALANCE_KP;
		if(bal > STRAIGHT_BALANCE_MAX) bal = STRAIGHT_BALANCE_MAX;
		if(bal < -STRAIGHT_BALANCE_MAX) bal = -STRAIGHT_BALANCE_MAX;
		int32_t bal_i = (int32_t)bal;
		MotorRight_Target_Adjusted -= bal_i;
		MotorLeft_Target_Adjusted  += bal_i;
	}
}

void Reset_Angle_PID(void){
	Angle_PID.integral = 0;
	Angle_PID.error = 0;
	Angle_PID.lastError = 0;
	Angle_PID.output = 0;
	Turn_PID.integral = 0;
	Turn_PID.error = 0;
	Turn_PID.lastError = 0;
	Turn_PID.output = 0;
	turn_output_filtered = 0.0f;
	Yaw_PID_Error = 0.0f;
	Yaw_PID_Output = 0.0f;
	MotorRight_Target_Adjusted = MotorRight_Target;
	MotorLeft_Target_Adjusted = MotorLeft_Target;
}

float NormalizeAngle(float angle){
	while(angle > 180.0f){
		angle -= 360.0f;
	}
	while(angle < -180.0f){
		angle += 360.0f;
	}
	return angle;
}

void Action(uint8_t num){
	float baseYaw = Yaw; // 记录当前偏航角，作为动作计算基准
	uint8_t previous_action = Current_Action;

 	switch(num){
 		case 0:
 			// 直行：设置双轮统一目标速度
 			MotorRight_Target = Straight_Speed;
 			MotorLeft_Target = Straight_Speed;
			// 直行微调：补偿机械左右差异，防止左偏
			MotorLeft_Target  += Straight_Trim;
			MotorRight_Target -= Straight_Trim;
 		break;
 		case 1:
 		case 2:
 		case 3:
 			// 转弯/调头：基础速度为0，完全依赖角度PID输出驱动
 			MotorRight_Target = 0;
 			MotorLeft_Target = 0;
		break;
		case 4:
			// 停止：目标速度为 0，不保持角度
			MotorRight_Target = 0;
			MotorLeft_Target = 0;
			Straight_Speed = 0;
 		break;
 		default:
 			return; // 非法动作直接忽略
 	}

 	Reset_PID(); // 清空速度环与角度环状态，防止上一个动作的积分干扰

 	switch(num){
 		case 0:
 			if(Straight_Speed > 0){
 				if(previous_action != 0){
 					Yaw_Target = baseYaw; // 首次进入直行动作时锁定当前偏航
 				}
 				Angle_Target_Valid = 1;
 			}else{
 				Angle_Target_Valid = 0; // 速度为0时无需保持角度
 			}
 		break;
 		case 1:
			Yaw_Target = NormalizeAngle(baseYaw + 90.0f -5.0f); // 左转90°
 			Angle_Target_Valid = 1;
 		break;
 		case 2:
			Yaw_Target = NormalizeAngle(baseYaw - 90.0f -6.0f); // 右转90°
 			Angle_Target_Valid = 1;
 		break;
 		case 3:
 			Yaw_Target = NormalizeAngle(baseYaw + 180.0f); // 调头
 			Angle_Target_Valid = 1;
		break;
		case 4:
			// 停止动作不需要角度控制
			Angle_Target_Valid = 0;
 		break;
 		default:
 		break;
 	}

 	// 重置后的调节目标需要立即同步到修正速度中
 	MotorRight_Target_Adjusted = MotorRight_Target;
 	MotorLeft_Target_Adjusted = MotorLeft_Target;
 	Current_Action = num;
}

//Num=1 2 3 4 前后左右红外
uint8_t CGQ_Read(uint8_t Num){
	uint8_t CGQ_Data;
	CGQ_Data=0;
	if(Num==1){
		CGQ_Data=HAL_GPIO_ReadPin(CGQ_Forward_GPIO_Port,CGQ_Forward_Pin);
	}
	else if(Num==2){
		CGQ_Data=HAL_GPIO_ReadPin(CGQ_Backward_GPIO_Port,CGQ_Backward_Pin);
	}
	else if(Num==3){
		CGQ_Data=HAL_GPIO_ReadPin(CGQ_Left_GPIO_Port,CGQ_Left_Pin);
	}
	else if(Num==4){
		CGQ_Data=HAL_GPIO_ReadPin(CGQ_Right_GPIO_Port,CGQ_Right_Pin);
	}
	return CGQ_Data;
}

void HAL_UART_RxCpltCallback(UART_HandleTypeDef *huart){
	HAL_UART_Receive_IT(&huart2, (uint8_t *)&uartdata2,1);
	if(Uart_State2==0){
		if(uartdata2==0x55 && Uart_Receive_Flag2 ==0){
			Uart_State2=1;
			Uart_Index2=0;
		}
	}
	else if(Uart_State2==1){
		if(Uart_Index2==10){
			Uart_State2=2;
		}
		else{
			Uart_Receive_String2[Uart_Index2]=uartdata2;
			Uart_Index2++;
		}
	}
	else if(Uart_State2==2){
		Uart_State2=0;
		Uart_Receive_String2[Uart_Index2]='\0';
		Uart_Receive_Flag2=1;
	}
}
/* USER CODE END 4 */

void Error_Handler(void)
{
  __disable_irq();
  while (1)
  {
  }
}
